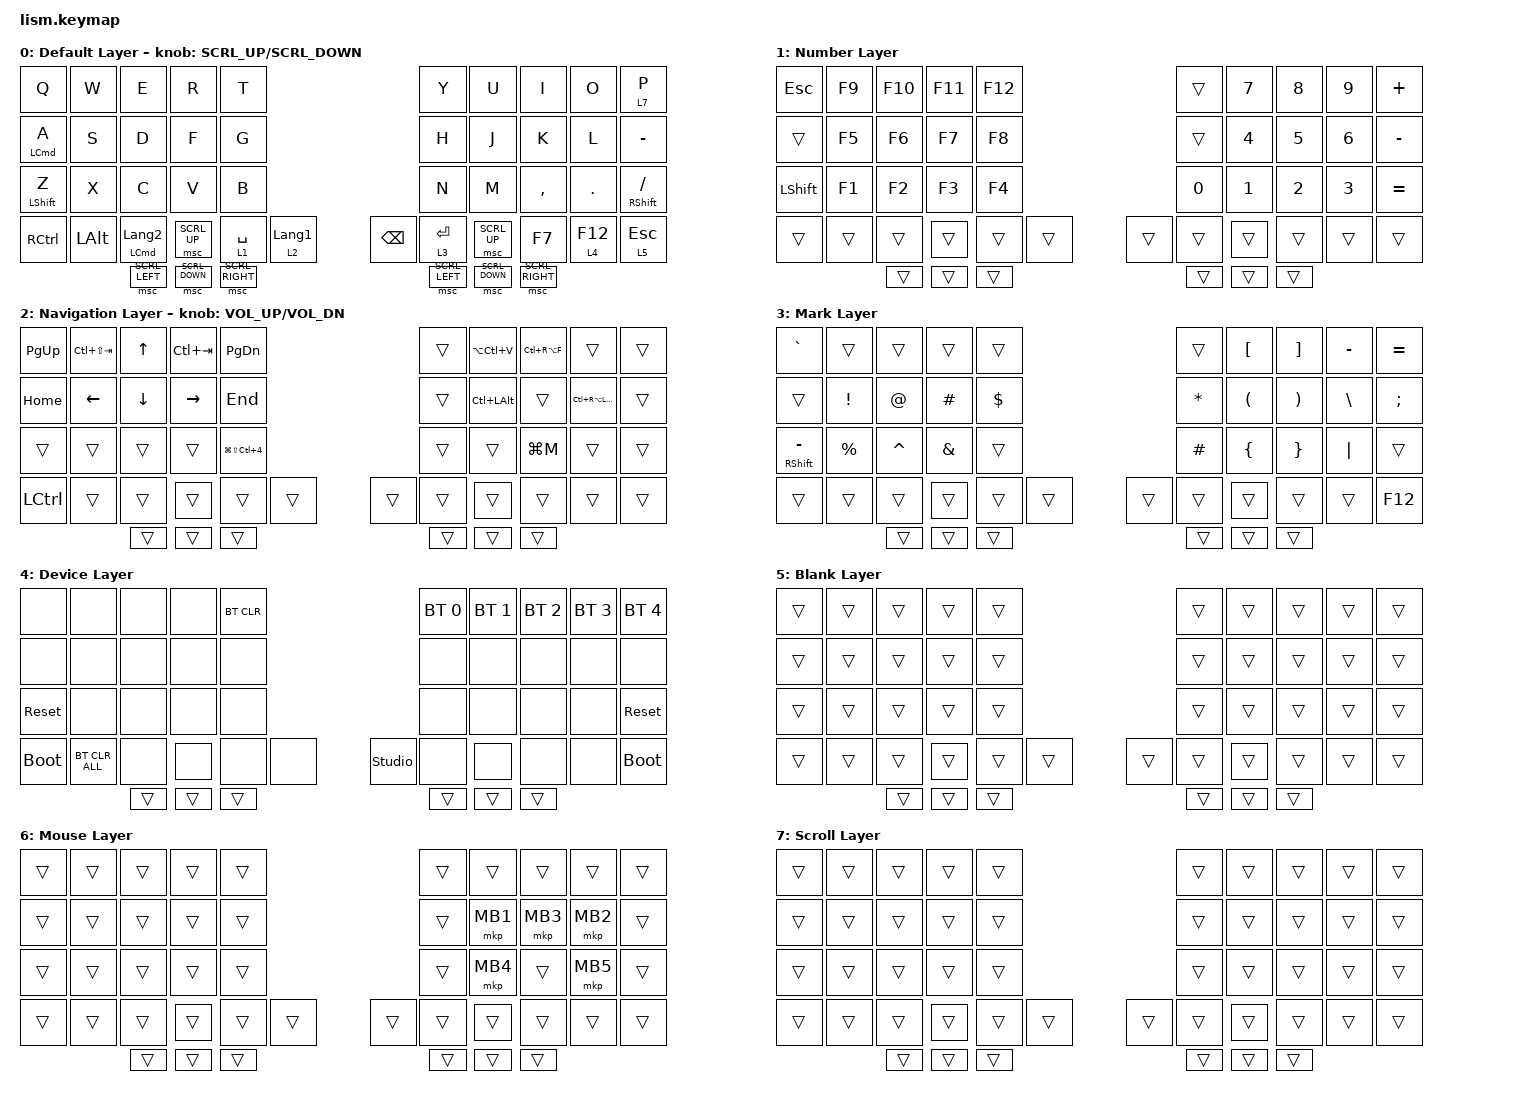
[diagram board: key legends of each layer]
#define ZMK_POINTING_DEFAULT_SCRL_VAL 200

#include <input/processors.dtsi>
#include <dt-bindings/zmk/mouse.h>
#include <behaviors.dtsi>
#include <dt-bindings/zmk/bt.h>
#include <dt-bindings/zmk/keys.h>
#include <dt-bindings/zmk/pointing.h>

&mt {
    tapping-term-ms = <350>;        // 修飾キーが出るまでの長押し時間
    require-prior-idle-ms = <150>;  // 直前のキー入力から150ms以内なら必ずタップ扱い（タイピング中の誤発動防止）
    flavor = "balanced";
};

&lt { quick-tap-ms = <300>; };

/ {
    macros {
        emoji: emoji_macro {
            compatible = "zmk,behavior-macro";
            label = "EMOJI";
            #binding-cells = <0>;
            bindings =
                <&macro_press>,
                <&kp CAPSLOCK>,
                <&macro_tap>,
                <&kp E>,
                <&macro_release>,
                <&kp CAPSLOCK>;
        };
    };

    behaviors {
        encoder_msc: sensor_rotate_msc {
            compatible = "zmk,behavior-sensor-rotate-var";
            #sensor-binding-cells = <2>;
            bindings = <&msc>, <&msc>;

            tap-ms = <20>;
        };

        encoder_kp: sensor_rotate_kp {
            compatible = "zmk,behavior-sensor-rotate-var";
            #sensor-binding-cells = <2>;
            bindings = <&kp>, <&kp>;
        };
    };

    keymap {
        compatible = "zmk,keymap";

        default_layer {
            display-name = "Default Layer";
            bindings = <
&kp Q             &kp W     &kp E                    &kp R           &kp T                                               &kp Y           &kp U           &kp I            &kp O      &lt 7 P
&mt LCMD A        &kp S     &kp D                    &kp F           &kp G                                               &kp H           &kp J           &kp K            &kp L      &kp MINUS
&mt LEFT_SHIFT Z  &kp X     &kp C                    &kp V           &kp B                                               &kp N           &kp M           &kp COMMA        &kp DOT    &mt RIGHT_SHIFT SLASH
&kp RCTRL         &kp LALT  &mt LCMD LANGUAGE_2      &msc SCRL_UP    &lt 1 SPACE      &lt 2 LANGUAGE_1    &kp BACKSPACE  &lt 3 ENTER     &msc SCRL_UP    &kp F7           &lt 4 F12  &lt 5 ESC
                            &msc SCRL_LEFT           &msc SCRL_DOWN  &msc SCRL_RIGHT                                     &msc SCRL_LEFT  &msc SCRL_DOWN  &msc SCRL_RIGHT
            >;

            sensor-bindings = <&encoder_msc SCRL_UP SCRL_DOWN>;
        };

        // moNa2 layer_3 を流用（数字 / ファンクション）
        layer_1 {
            display-name = "Number Layer";
            bindings = <
&kp ESC         &kp F9  &kp F10  &kp F11  &kp F12                    &trans        &kp NUMBER_7  &kp NUMBER_8  &kp NUMBER_9  &kp PLUS
&trans          &kp F5  &kp F6   &kp F7   &kp F8                     &trans        &kp NUMBER_4  &kp NUMBER_5  &kp NUMBER_6  &kp MINUS
&kp LEFT_SHIFT  &kp F1  &kp F2   &kp F3   &kp F4                     &kp NUMBER_0  &kp NUMBER_1  &kp NUMBER_2  &kp NUMBER_3  &kp EQUAL
&trans          &trans  &trans   &trans   &trans   &trans    &trans  &trans        &trans        &trans        &trans        &trans
                        &trans   &trans   &trans                     &trans        &trans        &trans
            >;
        };

        // moNa2 layer_5 を流用（カーソル / ナビゲーション、Mac用）
        layer_2 {
            display-name = "Navigation Layer";
            bindings = <
&kp PAGE_UP       &kp LC(LS(TAB))  &kp UP_ARROW    &kp LC(TAB)      &kp PAGE_DOWN                                 &trans  &kp LA(LC(V))     &kp LC(RA(F))  &trans                &trans
&kp HOME          &kp LEFT_ARROW   &kp DOWN_ARROW  &kp RIGHT_ARROW  &kp END                                       &trans  &kp LC(LEFT_ALT)  &trans         &kp LC(RA(LEFT_WIN))  &trans
&trans            &trans           &trans          &trans           &kp LG(LS(LC(N4)))                            &trans  &trans            &kp LG(M)      &trans                &trans
&kp LEFT_CONTROL  &trans           &trans          &trans           &trans              &trans                    &trans  &trans            &trans         &trans                &trans  &trans
                                   &trans          &trans           &trans                                        &trans  &trans            &trans
            >;

            sensor-bindings = <&encoder_kp C_VOL_UP C_VOL_DN>;
        };

        // moNa2 layer_2 を流用（記号）
        layer_3 {
            display-name = "Mark Layer";
            bindings = <
&kp GRAVE              &trans           &trans       &trans         &trans                           &trans        &kp LEFT_BRACKET      &kp RIGHT_BRACKET      &kp MINUS             &kp EQUAL
&trans                 &kp EXCLAMATION  &kp AT_SIGN  &kp HASH       &kp DOLLAR                       &kp ASTERISK  &kp LEFT_PARENTHESIS  &kp RIGHT_PARENTHESIS  &kp BACKSLASH         &kp SEMICOLON
&mt RIGHT_SHIFT MINUS  &kp PERCENT      &kp CARET    &kp AMPERSAND  &trans                           &kp HASH      &kp LEFT_BRACE        &kp RIGHT_BRACE        &kp PIPE              &trans
&trans                 &trans           &trans       &trans         &trans      &trans    &trans     &trans        &trans                &trans                 &trans                &kp F12
                                        &trans       &trans         &trans                           &trans        &trans                &trans
            >;
        };

        layer_4 {
            display-name = "Device Layer";
            bindings = <
&none        &none           &none   &none   &bt BT_CLR                           &bt BT_SEL 0  &bt BT_SEL 1  &bt BT_SEL 2  &bt BT_SEL 3  &bt BT_SEL 4
&none        &none           &none   &none   &none                                &none         &none         &none         &none         &none
&sys_reset   &none           &none   &none   &none                                &none         &none         &none         &none         &sys_reset
&bootloader  &bt BT_CLR_ALL  &none   &none   &none       &none    &studio_unlock  &none         &none         &none         &none         &bootloader
                             &trans  &trans  &trans                               &trans        &trans        &trans
            >;
        };

        layer_5 {
            display-name = "Blank Layer";
            bindings = <
&trans  &trans  &trans  &trans  &trans                    &trans  &trans  &trans  &trans  &trans
&trans  &trans  &trans  &trans  &trans                    &trans  &trans  &trans  &trans  &trans
&trans  &trans  &trans  &trans  &trans                    &trans  &trans  &trans  &trans  &trans
&trans  &trans  &trans  &trans  &trans  &trans    &trans  &trans  &trans  &trans  &trans  &trans
                &trans  &trans  &trans                    &trans  &trans  &trans
            >;
        };

        // moNa2 の MOUSE レイヤーを流用。
        // トラックボールを動かすと zip_temp_layer によって自動で有効化される。
        layer_6 {
            display-name = "Mouse Layer";
            bindings = <
&trans  &trans  &trans  &trans  &trans                    &trans  &trans    &trans    &trans    &trans
&trans  &trans  &trans  &trans  &trans                    &trans  &mkp MB1  &mkp MB3  &mkp MB2  &trans
&trans  &trans  &trans  &trans  &trans                    &trans  &mkp MB4  &trans    &mkp MB5  &trans
&trans  &trans  &trans  &trans  &trans  &trans    &trans  &trans  &trans    &trans    &trans    &trans
                &trans  &trans  &trans                    &trans  &trans    &trans
            >;
        };

        // moNa2 の SCROLL レイヤーを流用。
        // 中身は全て &trans で、トラックボールをスクロールに切り替えるためだけの層。
        // （snippets 側の input-listener の scroller { layers = <7>; } と対応）
        layer_7 {
            display-name = "Scroll Layer";
            bindings = <
&trans  &trans  &trans  &trans  &trans                    &trans  &trans  &trans  &trans  &trans
&trans  &trans  &trans  &trans  &trans                    &trans  &trans  &trans  &trans  &trans
&trans  &trans  &trans  &trans  &trans                    &trans  &trans  &trans  &trans  &trans
&trans  &trans  &trans  &trans  &trans  &trans    &trans  &trans  &trans  &trans  &trans  &trans
                &trans  &trans  &trans                    &trans  &trans  &trans
            >;
        };
    };
};

// オートマウスレイヤー（layer 6）を解除しないキー位置。
// ここに列挙した位置は、押しても一時レイヤーが解除されない。
&zip_temp_layer {
    excluded-positions = <
        16  // J (MB1)
        17  // K (MB3)
        18  // L (MB2)
        26  // M (MB4)
        28  // . (MB5)
    >;
};
